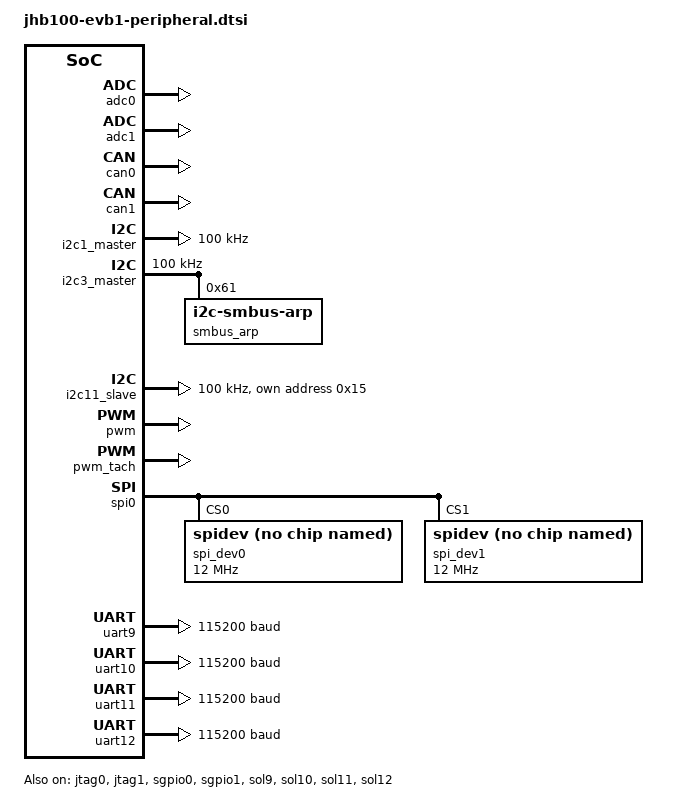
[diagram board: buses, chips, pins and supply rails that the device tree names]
// SPDX-License-Identifier: GPL-2.0 OR MIT
/*
 * Copyright (c) 2025 StarFive Technology Co., Ltd.
 */

&adc0 {
	pinctrl-names = "default";
	pinctrl-0 = <&adc0_vin0_pins &adc0_vin1_pins &adc0_vin2_pins &adc0_vin3_pins
		     &adc0_vin4_pins &adc0_vin5_pins &adc0_vin6_pins &adc0_vin7_pins>;
	upper-bound-mv = /bits/ 16 <1800>;
	lower-bound-mv = /bits/ 16 <0>;
	scan-freq = /bits/ 16 <0x3e3>;
	status = "okay";
};

&adc1 {
	pinctrl-names = "default";
	pinctrl-0 = <&adc1_vin0_pins &adc1_vin1_pins &adc1_vin2_pins &adc1_vin3_pins
		     &adc1_vin4_pins &adc1_vin5_pins &adc1_vin6_pins &adc1_vin7_pins>;
	upper-bound-mv = /bits/ 16 <1800>;
	lower-bound-mv = /bits/ 16 <0>;
	scan-freq = /bits/ 16 <0x3e3>;
	status = "okay";
};

&can0 {
	ts = <0x07>; /* bit 0 enable ts, bit 1 enable tts, bit 2: 0 SOF, 1 EOF */
	status = "okay";
};

&can1 {
	ts = <0x07>; /* bit 0 enable ts, bit 1 enable tts, bit 2: 0 SOF, 1 EOF */
	status = "okay";
};

&dma_i3c {
	status = "disabled";
};

&dma_spi0 {
	status = "okay";
};

&i2c1_master {
	clock-frequency = <100000>;
	status = "okay";
};

&i2c2_master {
	clock-frequency = <100000>;
	status = "disabled";
};

/* SMBus ARP test: I2C3 as SMBus ARP master */
&i2c3_master {
	clock-frequency = <100000>;
	status = "okay";

	smbus_arp@61 {
		compatible = "i2c-smbus-arp";
		reg = <0x61>;
	};
};

&i2c4_master {
	clock-frequency = <100000>;
	status = "disabled";
};

&i2c5_master {
	clock-frequency = <100000>;
	status = "disabled";
};

&i2c6_master {
	clock-frequency = <100000>;
	status = "disabled";
};

&i2c7_master {
	clock-frequency = <100000>;
	status = "disabled";
};

/* SMBus loopback test: I2C8 as master, I2C9 as slave acting as an emulated EEPROM */
&i2c8_master {
	clock-frequency = <100000>;
	status = "disabled";
};

/* SMBus loopback test: I2C8 as master, I2C9 as slave acting as an emulated EEPROM */
&i2c9_slave {
	clock-frequency = <100000>;
	status = "disabled";

	slave-eeprom@66 {
		compatible = "slave-24c02";
		reg = <(0x66 | I2C_OWN_SLAVE_ADDRESS)>;
	};
};

&i2c10_master {
	clock-frequency = <100000>;
	status = "disabled";
};

&i2c11_master {
	clock-frequency = <100000>;
	status = "disabled";
};

&i2c11_slave {
	clock-frequency = <100000>;
	status = "okay";

	starfive,mctp-i2c-ms = <&i2c0_master>;
	mctp-controller;
	mctp@15 {
		compatible = "mctp-i2c-controller";
		reg = <(0x15 | I2C_OWN_SLAVE_ADDRESS)>;
	};
};

&i3c0 {
	i2c-scl-hz = <400000>;
	i3c-scl-hz = <12500000>;
	mode = "master";
	dmas = <&dma_i3c 0 1 0>;
	dma-names = "rx-tx";
	i3c-od-pu-offset = <2>;
	i3c-od-lo-offset = <0>;
	master-sda-tx-hold = <3>;
	master-sda-pp-od-switch-dly = <1>;
	master-sda-od-pp-switch-dly = <1>;
	master-stop-hold-cnt = <0x8>;
	status = "disabled";

	#address-cells = <3>;
	#size-cells = <0>;

	eeprom@50 {
		reg = <0x50 0x0 0x10>;
		compatible = "atmel,24c64";
		vcc-supply = <&vcc_1v8>;
		pagesize = <32>;
	};
};

&i3c1 {
	i2c-scl-hz = <400000>;
	i3c-scl-hz = <12500000>;
	mode = "master";
	dmas = <&dma_i3c 1 3 2>;
	dma-names = "rx-tx";
	i3c-od-pu-offset = <2>;
	i3c-od-lo-offset = <0>;
	master-sda-tx-hold = <3>;
	master-sda-pp-od-switch-dly = <1>;
	master-sda-od-pp-switch-dly = <1>;
	master-stop-hold-cnt = <0x8>;
	status = "disabled";

	#address-cells = <3>;
	#size-cells = <0>;

	eeprom@50 {
		reg = <0x50 0x0 0x10>;
		compatible = "atmel,24c64";
		vcc-supply = <&vcc_1v8>;
		pagesize = <32>;
	};
};

&i3c2 {
	i2c-scl-hz = <400000>;
	i3c-scl-hz = <12500000>;
	mode = "master";
	dmas = <&dma_i3c 2 5 4>;
	dma-names = "rx-tx";
	i3c-od-pu-offset = <2>;
	i3c-od-lo-offset = <0>;
	master-sda-tx-hold = <3>;
	master-sda-pp-od-switch-dly = <1>;
	master-sda-od-pp-switch-dly = <1>;
	master-stop-hold-cnt = <0x8>;
	status = "disabled";

	#address-cells = <3>;
	#size-cells = <0>;

	eeprom@50 {
		reg = <0x50 0x0 0x10>;
		compatible = "atmel,24c64";
		vcc-supply = <&vcc_1v8>;
		pagesize = <32>;
	};
};

&i3c3 {
	i2c-scl-hz = <400000>;
	i3c-scl-hz = <12500000>;
	mode = "master";
	dmas = <&dma_i3c 3 7 6>;
	dma-names = "rx-tx";
	i3c-od-pu-offset = <2>;
	i3c-od-lo-offset = <0>;
	master-sda-tx-hold = <3>;
	master-sda-pp-od-switch-dly = <1>;
	master-sda-od-pp-switch-dly = <1>;
	master-stop-hold-cnt = <0x8>;
	status = "disabled";

	#address-cells = <3>;
	#size-cells = <0>;

	eeprom@50 {
		reg = <0x50 0x0 0x10>;
		compatible = "atmel,24c64";
		vcc-supply = <&vcc_1v8>;
		pagesize = <32>;
	};
};

&i3c4 {
	i2c-scl-hz = <400000>;
	i3c-scl-hz = <12500000>;
	mode = "master";
	pinctrl-names = "default";
	pinctrl-0 = <&i3c4_pins>;
	dmas = <&dma_i3c 4 9 8>;
	dma-names = "rx-tx";
	i3c-od-pu-offset = <0>;
	i3c-od-lo-offset = <0>;
	master-sda-tx-hold = <3>;
	master-sda-pp-od-switch-dly = <1>;
	master-sda-od-pp-switch-dly = <1>;
	master-stop-hold-cnt = <0x8>;
	status = "disabled";

	#address-cells = <3>;
	#size-cells = <0>;

	eeprom@50 {
		reg = <0x50 0x0 0x10>;
		compatible = "atmel,24c64";
		vcc-supply = <&vcc_3v3>;
		pagesize = <32>;
	};
};

&i3c4_syscon {
	gpio-select = <GPIO_LEVEL_BIT GPIO_NORMAL>;
};

&i3c5 {
	i2c-scl-hz = <400000>;
	i3c-scl-hz = <12500000>;
	mode = "master";
	pinctrl-names = "default";
	pinctrl-0 = <&i3c5_pins>;
	dmas = <&dma_i3c 5 11 10>;
	dma-names = "rx-tx";
	i3c-od-pu-offset = <0>;
	i3c-od-lo-offset = <0>;
	master-sda-tx-hold = <3>;
	master-sda-pp-od-switch-dly = <1>;
	master-sda-od-pp-switch-dly = <1>;
	master-stop-hold-cnt = <0x8>;
	status = "disabled";

	#address-cells = <3>;
	#size-cells = <0>;

	eeprom@50 {
		reg = <0x50 0x0 0x10>;
		compatible = "atmel,24c64";
		vcc-supply = <&vcc_3v3>;
		pagesize = <32>;
	};
};

&i3c5_syscon {
	gpio-select = <GPIO_LEVEL_BIT GPIO_NORMAL>;
};

&i3c6 {
	i2c-scl-hz = <400000>;
	i3c-scl-hz = <12500000>;
	mode = "master";
	pinctrl-names = "default";
	pinctrl-0 = <&i3c6_pins>;
	dmas = <&dma_i3c 6 13 12>;
	dma-names = "rx-tx";
	i3c-od-pu-offset = <0>;
	i3c-od-lo-offset = <0>;
	master-sda-tx-hold = <3>;
	master-sda-pp-od-switch-dly = <1>;
	master-sda-od-pp-switch-dly = <1>;
	master-stop-hold-cnt = <0x8>;
	status = "disabled";

	#address-cells = <3>;
	#size-cells = <0>;

	eeprom@50 {
		reg = <0x50 0x0 0x10>;
		compatible = "atmel,24c64";
		vcc-supply = <&vcc_3v3>;
		pagesize = <32>;
	};
};

&i3c6_syscon {
	gpio-select = <GPIO_LEVEL_BIT GPIO_NORMAL>;
};

&i3c7 {
	i2c-scl-hz = <400000>;
	i3c-scl-hz = <12500000>;
	mode = "master";
	pinctrl-names = "default";
	pinctrl-0 = <&i3c7_pins>;
	dmas = <&dma_i3c 7 15 14>;
	dma-names = "rx-tx";
	i3c-od-pu-offset = <0>;
	i3c-od-lo-offset = <0>;
	master-sda-tx-hold = <3>;
	master-sda-pp-od-switch-dly = <1>;
	master-sda-od-pp-switch-dly = <1>;
	master-stop-hold-cnt = <0x8>;
	status = "disabled";

	#address-cells = <3>;
	#size-cells = <0>;

	eeprom@50 {
		reg = <0x50 0x0 0x10>;
		compatible = "atmel,24c64";
		vcc-supply = <&vcc_3v3>;
		pagesize = <32>;
	};
};

&i3c7_syscon {
	gpio-select = <GPIO_LEVEL_BIT GPIO_NORMAL>;
};

&i3c8 {
	i2c-scl-hz = <400000>;
	i3c-scl-hz = <12500000>;
	mode = "master";
	dmas = <&dma_i3c 8 17 16>;
	dma-names = "rx-tx";
	i3c-od-pu-offset = <0>;
	i3c-od-lo-offset = <0>;
	master-sda-tx-hold = <3>;
	master-sda-pp-od-switch-dly = <1>;
	master-sda-od-pp-switch-dly = <1>;
	master-stop-hold-cnt = <0x8>;
	status = "disabled";

	#address-cells = <3>;
	#size-cells = <0>;

	eeprom@50 {
		reg = <0x50 0x0 0x10>;
		compatible = "atmel,24c64";
		vcc-supply = <&vcc_3v3>;
		pagesize = <32>;
	};
};

&i3c9 {
	i2c-scl-hz = <400000>;
	i3c-scl-hz = <12500000>;
	mode = "master";
	dmas = <&dma_i3c 9 19 18>;
	dma-names = "rx-tx";
	i3c-od-pu-offset = <0>;
	i3c-od-lo-offset = <0>;
	master-sda-tx-hold = <3>;
	master-sda-pp-od-switch-dly = <1>;
	master-sda-od-pp-switch-dly = <1>;
	master-stop-hold-cnt = <0x8>;
	status = "disabled";

	#address-cells = <3>;
	#size-cells = <0>;

	eeprom@50 {
		reg = <0x50 0x0 0x10>;
		compatible = "atmel,24c64";
		vcc-supply = <&vcc_3v3>;
		pagesize = <32>;
	};
};

&i3c10 {
	i2c-scl-hz = <400000>;
	i3c-scl-hz = <12500000>;
	mode = "master";
	dmas = <&dma_i3c 10 21 20>;
	dma-names = "rx-tx";
	i3c-od-pu-offset = <0>;
	i3c-od-lo-offset = <0>;
	master-sda-tx-hold = <3>;
	master-sda-pp-od-switch-dly = <1>;
	master-sda-od-pp-switch-dly = <1>;
	master-stop-hold-cnt = <0x8>;
	status = "disabled";

	#address-cells = <3>;
	#size-cells = <0>;

	eeprom@50 {
		reg = <0x50 0x0 0x10>;
		compatible = "atmel,24c64";
		vcc-supply = <&vcc_3v3>;
		pagesize = <32>;
	};
};

&i3c11 {
	i2c-scl-hz = <400000>;
	i3c-scl-hz = <12500000>;
	mode = "master";
	dmas = <&dma_i3c 11 23 22>;
	dma-names = "rx-tx";
	i3c-od-pu-offset = <0>;
	i3c-od-lo-offset = <0>;
	master-sda-tx-hold = <3>;
	master-sda-pp-od-switch-dly = <1>;
	master-sda-od-pp-switch-dly = <1>;
	master-stop-hold-cnt = <0x8>;
	status = "disabled";

	#address-cells = <3>;
	#size-cells = <0>;

	eeprom@50 {
		reg = <0x50 0x0 0x10>;
		compatible = "atmel,24c64";
		vcc-supply = <&vcc_3v3>;
		pagesize = <32>;
	};
};

&i3c12 {
	i2c-scl-hz = <400000>;
	i3c-scl-hz = <12500000>;
	mode = "master";
	dmas = <&dma_i3c 12 25 24>;
	dma-names = "rx-tx";
	i3c-od-pu-offset = <0>;
	i3c-od-lo-offset = <0>;
	master-sda-tx-hold = <3>;
	master-sda-pp-od-switch-dly = <1>;
	master-sda-od-pp-switch-dly = <1>;
	master-stop-hold-cnt = <0x8>;
	status = "disabled";

	#address-cells = <3>;
	#size-cells = <0>;

	eeprom@50 {
		reg = <0x50 0x0 0x10>;
		compatible = "atmel,24c64";
		vcc-supply = <&vcc_3v3>;
		pagesize = <32>;
	};
};

&i3c13 {
	i2c-scl-hz = <400000>;
	i3c-scl-hz = <12500000>;
	mode = "master";
	dmas = <&dma_i3c 13 27 26>;
	dma-names = "rx-tx";
	i3c-od-pu-offset = <0>;
	i3c-od-lo-offset = <0>;
	master-sda-tx-hold = <3>;
	master-sda-pp-od-switch-dly = <1>;
	master-sda-od-pp-switch-dly = <1>;
	master-stop-hold-cnt = <0x8>;
	status = "disabled";

	#address-cells = <3>;
	#size-cells = <0>;

	eeprom@50 {
		reg = <0x50 0x0 0x10>;
		compatible = "atmel,24c64";
		vcc-supply = <&vcc_3v3>;
		pagesize = <32>;
	};
};

&i3c14 {
	i2c-scl-hz = <400000>;
	i3c-scl-hz = <12500000>;
	mode = "master";
	dmas = <&dma_i3c 14 29 28>;
	dma-names = "rx-tx";
	i3c-od-pu-offset = <0>;
	i3c-od-lo-offset = <0>;
	master-sda-tx-hold = <3>;
	master-sda-pp-od-switch-dly = <1>;
	master-sda-od-pp-switch-dly = <1>;
	master-stop-hold-cnt = <0x8>;
	status = "disabled";

	#address-cells = <3>;
	#size-cells = <0>;

	eeprom@50 {
		reg = <0x50 0x0 0x10>;
		compatible = "atmel,24c64";
		vcc-supply = <&vcc_3v3>;
		pagesize = <32>;
	};
};

&i3c15 {
	i2c-scl-hz = <400000>;
	i3c-scl-hz = <12500000>;
	mode = "master";
	dmas = <&dma_i3c 15 31 30>;
	dma-names = "rx-tx";
	i3c-od-pu-offset = <0>;
	i3c-od-lo-offset = <0>;
	master-sda-tx-hold = <3>;
	master-sda-pp-od-switch-dly = <1>;
	master-sda-od-pp-switch-dly = <1>;
	master-stop-hold-cnt = <0x8>;
	status = "disabled";

	#address-cells = <3>;
	#size-cells = <0>;

	eeprom@50 {
		reg = <0x50 0x0 0x10>;
		compatible = "atmel,24c64";
		vcc-supply = <&vcc_3v3>;
		pagesize = <32>;
	};
};

&jtag0 {
	status = "okay";
};

&jtag1 {
	status = "okay";
};

&pwm {
	pinctrl-names = "default";
	pinctrl-0 = <&pwm_ch0_pins &pwm_ch1_pins &pwm_ch2_pins &pwm_ch3_pins
		     &pwm_ch4_pins &pwm_ch5_pins &pwm_ch6_pins &pwm_ch7_pins>;
	status = "okay";
};

&pwm_tach {
	pinctrl-names = "default";
	pinctrl-0 = <&pwm_tach0_i0_pins &pwm_tach0_i1_pins
		     &pwm_tach0_i2_pins &pwm_tach0_i3_pins
		     &pwm_tach0_i4_pins &pwm_tach0_i5_pins
		     &pwm_tach0_i6_pins &pwm_tach0_i7_pins
		     &pwm_tach0_i8_pins &pwm_tach0_i9_pins
		     &pwm_tach0_i10_pins &pwm_tach0_i11_pins
		     &pwm_tach0_i12_pins &pwm_tach0_i13_pins
		     &pwm_tach0_i14_pins &pwm_tach0_i15_pins>;
	status = "okay";

	fan@0 {
		tach-ch = <0x0>, <0x8>;
	};
	fan@1 {
		tach-ch = <0x1>, <0x9>;
	};
	fan@2 {
		tach-ch = <0x2>, <0xa>;
	};
	fan@3 {
		tach-ch = <0x3>, <0xb>;
	};
	fan@4 {
		tach-ch = <0x4>, <0xc>;
	};
	fan@5 {
		tach-ch = <0x5>, <0xd>;
	};
	fan@6 {
		tach-ch = <0x6>, <0xe>;
	};
	fan@7 {
		tach-ch = <0x7>, <0xf>;
	};
};

&sgpio0 {
	status = "okay";

	gpio-line-names =
		"", "P80_DOUT0", "", "P80_DOUT1", "", "P80_DOUT2", "", "P80_DOUT3",
		"", "P80_DOUT4", "", "P80_DOUT5", "", "P80_DOUT6", "", "P80_DOUT7",
		"", "", "", "", "", "", "", "",
		"", "", "", "", "", "", "", "",
		"", "", "", "", "", "", "", "",
		"", "", "", "", "", "", "", "",
		"", "", "", "", "", "", "", "",
		"", "", "", "", "", "", "", "",
		"", "", "", "", "", "", "", "",
		"", "", "", "", "", "", "", "",
		"", "", "", "", "", "", "", "",
		"", "", "", "", "", "", "", "",
		"", "", "", "", "", "", "", "",
		"", "", "", "", "", "", "", "",
		"", "", "", "", "", "", "", "",
		"", "", "", "", "", "", "", "",
		"", "", "", "", "", "", "", "",
		"", "", "", "", "", "", "", "",
		"", "", "", "", "", "", "", "",
		"", "", "", "", "", "", "", "",
		"", "", "", "", "", "", "", "",
		"", "", "", "", "", "", "", "",
		"", "", "", "", "", "", "", "",
		"", "", "", "", "", "", "", "",
		"", "", "", "", "", "", "", "BMC_BOOT_DONE",
		"", "", "", "", "", "", "", "",
		"", "", "", "", "", "", "", "",
		"", "", "", "", "", "", "", "",
		"", "", "", "", "", "", "", "",
		"", "", "", "", "", "", "", "",
		"", "", "", "", "", "", "", "",
		"", "", "", "", "", "", "", "";
};

&sgpio1 {
	status = "okay";

	gpio-line-names =
		"", "P80_DOUT0", "", "P80_DOUT1", "", "P80_DOUT2", "", "P80_DOUT3",
		"", "P80_DOUT4", "", "P80_DOUT5", "", "P80_DOUT6", "", "P80_DOUT7",
		"", "", "", "", "", "", "", "",
		"", "", "", "", "", "", "", "",
		"", "", "", "", "", "", "", "",
		"", "", "", "", "", "", "", "",
		"", "", "", "", "", "", "", "",
		"", "", "", "", "", "", "", "",
		"", "", "", "", "", "", "", "",
		"", "", "", "", "", "", "", "",
		"", "", "", "", "", "", "", "",
		"", "", "", "", "", "", "", "",
		"", "", "", "", "", "", "", "",
		"", "", "", "", "", "", "", "",
		"", "", "", "", "", "", "", "",
		"", "", "", "", "", "", "", "",
		"", "", "", "", "", "", "", "",
		"", "", "", "", "", "", "", "",
		"", "", "", "", "", "", "", "",
		"", "", "", "", "", "", "", "",
		"", "", "", "", "", "", "", "",
		"", "", "", "", "", "", "", "",
		"", "", "", "", "", "", "", "",
		"", "", "", "", "", "", "", "",
		"", "", "", "", "", "", "", "BMC_BOOT_DONE",
		"", "", "", "", "", "", "", "",
		"", "", "", "", "", "", "", "",
		"", "", "", "", "", "", "", "",
		"", "", "", "", "", "", "", "",
		"", "", "", "", "", "", "", "",
		"", "", "", "", "", "", "", "",
		"", "", "", "", "", "", "", "";
};

&sol9 {
	memory-region = <&sol_tx_mem_uncache>,
			<&sol_rx_mem_uncache>;
	tx-size = <3>;
	rx-size = <3>;
	dev-id = <9>;
	status = "okay";
};

&sol10 {
	memory-region = <&sol_tx_mem_uncache>,
			<&sol_rx_mem_uncache>;
	tx-size = <3>;
	rx-size = <3>;
	dev-id = <10>;
	status = "okay";
};

&sol11 {
	memory-region = <&sol_tx_mem_uncache>,
			<&sol_rx_mem_uncache>;
	tx-size = <3>;
	rx-size = <3>;
	dev-id = <11>;
	status = "okay";
};

&sol12 {
	memory-region = <&sol_tx_mem_uncache>,
			<&sol_rx_mem_uncache>;
	tx-size = <3>;
	rx-size = <3>;
	dev-id = <12>;
	status = "okay";
};

&spi0 {
	pinctrl-names = "default";
	pinctrl-0 = <&spi0_pins>;
	status = "okay";

	spi_dev0: spi@0 {
		compatible = "rohm,dh2228fv";
		spi-max-frequency = <12000000>;
		reg = <0>;
	};

	spi_dev1: spi@1 {
		compatible = "rohm,dh2228fv";
		spi-max-frequency = <12000000>;
		reg = <1>;
	};
};

&uart9 {
	status = "okay";
	current-speed = <115200>;
	pinctrl-names = "default";
	pinctrl-0 = <&uart9_pins>;
};

&uart10 {
	status = "okay";
	current-speed = <115200>;
	pinctrl-names = "default";
	pinctrl-0 = <&uart10_pins>;
};

&uart11 {
	status = "okay";
	current-speed = <115200>;
	pinctrl-names = "default";
	pinctrl-0 = <&uart11_pins>;
};

&uart12 {
	status = "okay";
	current-speed = <115200>;
	pinctrl-names = "default";
	pinctrl-0 = <&uart12_pins>;
};
